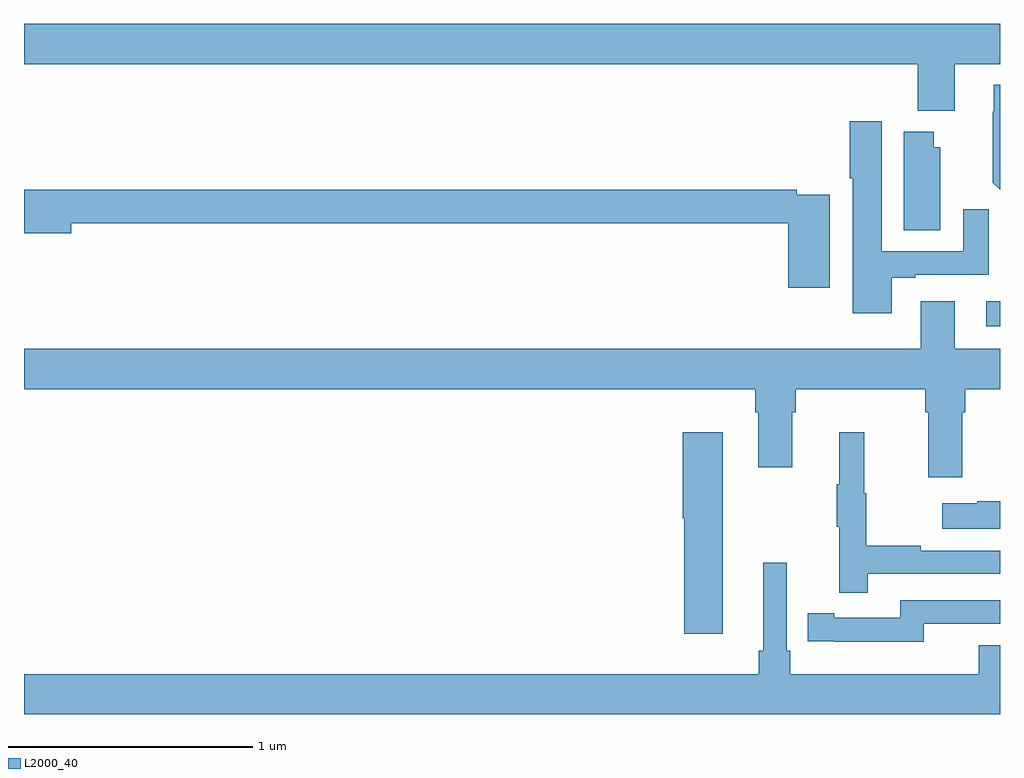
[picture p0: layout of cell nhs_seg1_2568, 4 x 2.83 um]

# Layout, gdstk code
import gdstk
lib = gdstk.Library(unit=1e-6, precision=1e-09)
def R(c, l, rs):  # rectangles x0, y0, x1, y1
    for r in rs: c.add(gdstk.rectangle(r[:2], r[2:], *l))
def P(c, l, *ps):  # polygons
    for p in ps: c.add(gdstk.Polygon(p, *l))
L2000_40 = (2000, 40)

nhs_seg1_2568 = lib.new_cell('nhs_seg1_2568')
R(nhs_seg1_2568, L2000_40, [(254.943,518.69,255,518.791)])
P(nhs_seg1_2568, L2000_40, [(254.815,519.764),(255,519.764),(255,519.928),(251,519.928),(251,519.764),(254.663,519.764),(254.663,519.572),(254.815,519.572)],
  [(255,519.679),(254.975,519.679),(254.975,519.569),(254.971,519.569),(254.971,519.278),(255,519.249)],
  [(254.557,518.889),(254.653,518.889),(254.653,518.901),(254.953,518.901),(254.953,519.169),(254.849,519.169),(254.849,518.997),(254.515,518.997),(254.515,519.529),(254.384,519.529),(254.384,519.295),(254.396,519.295),(254.396,518.742),(254.557,518.742)],
  [(254.755,519.423),(254.728,519.423),(254.728,519.487),(254.606,519.487),(254.606,519.082),(254.755,519.082)],
  [(254.302,519.228),(254.168,519.228),(254.168,519.248),(251,519.248),(251,519.07),(251.194,519.07),(251.194,519.112),(254.132,519.112),(254.132,518.847),(254.302,518.847)],
  [(254.845,518.336),(254.858,518.336),(254.858,518.432),(255,518.432),(255,518.596),(254.815,518.596),(254.815,518.791),(254.675,518.791),(254.675,518.596),(251,518.596),(251,518.432),(253.997,518.432),(253.997,518.336),(254.009,518.336),(254.009,518.112),(254.149,518.112),(254.149,518.336),(254.162,518.336),(254.162,518.432),(254.693,518.432),(254.693,518.336),(254.705,518.336),(254.705,518.07),(254.845,518.07)],
  [(254.459,517.674),(255,517.674),(255,517.77),(254.675,517.77),(254.675,517.79),(254.452,517.79),(254.452,518.004),(254.444,518.004),(254.444,518.254),(254.342,518.254),(254.342,518.041),(254.331,518.041),(254.331,517.867),(254.342,517.867),(254.342,517.596),(254.459,517.596)],
  [(253.864,518.254),(253.7,518.254),(253.7,517.902),(253.706,517.902),(253.706,517.428),(253.864,517.428)],
  [(255,517.973),(254.906,517.973),(254.906,517.963),(254.763,517.963),(254.763,517.859),(255,517.859)],
  [(255,517.381),(254.912,517.381),(254.912,517.264),(254.141,517.264),(254.141,517.36),(254.127,517.36),(254.127,517.72),(254.03,517.72),(254.03,517.36),(254.011,517.36),(254.011,517.264),(251,517.264),(251,517.1),(255,517.1)],
  [(254.688,517.47),(255,517.47),(255,517.566),(254.592,517.566),(254.592,517.494),(254.32,517.494),(254.32,517.514),(254.212,517.514),(254.212,517.398),(254.32,517.398),(254.32,517.397),(254.688,517.397)])

lib.write_gds('nhs_seg1_2568.gds')
